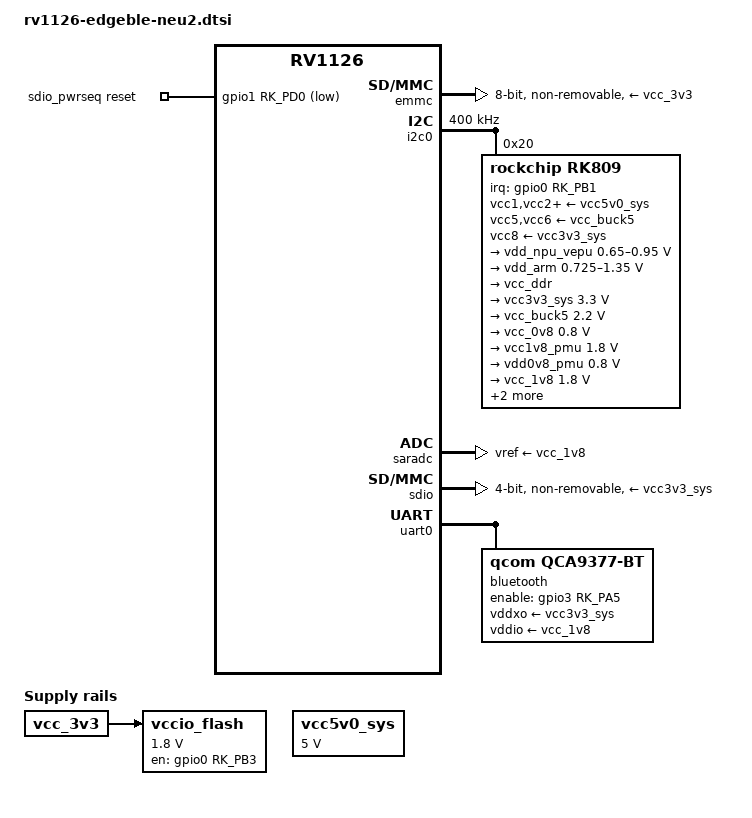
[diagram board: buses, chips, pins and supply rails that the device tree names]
// SPDX-License-Identifier: (GPL-2.0+ OR MIT)
/*
 * Copyright (c) 2020 Rockchip Electronics Co., Ltd.
 * Copyright (c) 2022 Edgeble AI Technologies Pvt. Ltd.
 */

/ {
	compatible = "edgeble,neural-compute-module-2", "rockchip,rv1126";

	aliases {
		mmc0 = &emmc;
	};

	vcc5v0_sys: vcc5v0-sys-regulator {
		compatible = "regulator-fixed";
		regulator-name = "vcc5v0_sys";
		regulator-always-on;
		regulator-boot-on;
		regulator-min-microvolt = <5000000>;
		regulator-max-microvolt = <5000000>;
	};

	vccio_flash: vccio-flash-regulator {
		compatible = "regulator-fixed";
		enable-active-high;
		gpio = <&gpio0 RK_PB3 GPIO_ACTIVE_HIGH>;
		pinctrl-names = "default";
		pinctrl-0 = <&flash_vol_sel>;
		regulator-name = "vccio_flash";
		regulator-always-on;
		regulator-boot-on;
		regulator-min-microvolt = <1800000>;
		regulator-max-microvolt = <1800000>;
		vin-supply = <&vcc_3v3>;
	};

	sdio_pwrseq: pwrseq-sdio {
		compatible = "mmc-pwrseq-simple";
		clocks = <&rk809 1>;
		clock-names = "ext_clock";
		pinctrl-names = "default";
		pinctrl-0 = <&wifi_enable_h>;
		reset-gpios = <&gpio1 RK_PD0 GPIO_ACTIVE_LOW>;
	};
};

&cpu0 {
	cpu-supply = <&vdd_arm>;
};

&emmc {
	bus-width = <8>;
	non-removable;
	pinctrl-names = "default";
	pinctrl-0 = <&emmc_bus8 &emmc_cmd &emmc_clk &emmc_rstnout>;
	rockchip,default-sample-phase = <90>;
	vmmc-supply = <&vcc_3v3>;
	vqmmc-supply = <&vccio_flash>;
	status = "okay";
};

&i2c0 {
	clock-frequency = <400000>;
	status = "okay";

	rk809: pmic@20 {
		compatible = "rockchip,rk809";
		reg = <0x20>;
		interrupt-parent = <&gpio0>;
		interrupts = <RK_PB1 IRQ_TYPE_LEVEL_LOW>;
		#clock-cells = <1>;
		clock-output-names = "rk808-clkout1", "rk808-clkout2";
		pinctrl-names = "default";
		pinctrl-0 = <&pmic_int_l>;
		rockchip,system-power-controller;
		wakeup-source;

		vcc1-supply = <&vcc5v0_sys>;
		vcc2-supply = <&vcc5v0_sys>;
		vcc3-supply = <&vcc5v0_sys>;
		vcc4-supply = <&vcc5v0_sys>;
		vcc5-supply = <&vcc_buck5>;
		vcc6-supply = <&vcc_buck5>;
		vcc7-supply = <&vcc5v0_sys>;
		vcc8-supply = <&vcc3v3_sys>;
		vcc9-supply = <&vcc5v0_sys>;

		regulators {
			vdd_npu_vepu: DCDC_REG1 {
				regulator-name = "vdd_npu_vepu";
				regulator-always-on;
				regulator-boot-on;
				regulator-initial-mode = <0x2>;
				regulator-min-microvolt = <650000>;
				regulator-max-microvolt = <950000>;
				regulator-ramp-delay = <6001>;
				regulator-state-mem {
					regulator-off-in-suspend;
				};
			};

			vdd_arm: DCDC_REG2 {
				regulator-name = "vdd_arm";
				regulator-always-on;
				regulator-boot-on;
				regulator-initial-mode = <0x2>;
				regulator-min-microvolt = <725000>;
				regulator-max-microvolt = <1350000>;
				regulator-ramp-delay = <6001>;
				regulator-state-mem {
					regulator-off-in-suspend;
				};
			};

			vcc_ddr: DCDC_REG3 {
				regulator-name = "vcc_ddr";
				regulator-always-on;
				regulator-boot-on;
				regulator-initial-mode = <0x2>;
				regulator-state-mem {
					regulator-on-in-suspend;
				};
			};

			vcc3v3_sys: DCDC_REG4 {
				regulator-name = "vcc3v3_sys";
				regulator-always-on;
				regulator-boot-on;
				regulator-initial-mode = <0x2>;
				regulator-min-microvolt = <3300000>;
				regulator-max-microvolt = <3300000>;
				regulator-state-mem {
					regulator-on-in-suspend;
					regulator-suspend-microvolt = <3300000>;
				};
			};

			vcc_buck5: DCDC_REG5 {
				regulator-name = "vcc_buck5";
				regulator-always-on;
				regulator-boot-on;
				regulator-min-microvolt = <2200000>;
				regulator-max-microvolt = <2200000>;
				regulator-state-mem {
					regulator-on-in-suspend;
					regulator-suspend-microvolt = <2200000>;
				};
			};

			vcc_0v8: LDO_REG1 {
				regulator-name = "vcc_0v8";
				regulator-always-on;
				regulator-boot-on;
				regulator-min-microvolt = <800000>;
				regulator-max-microvolt = <800000>;
				regulator-state-mem {
					regulator-off-in-suspend;
				};
			};

			vcc1v8_pmu: LDO_REG2 {
				regulator-name = "vcc1v8_pmu";
				regulator-always-on;
				regulator-boot-on;
				regulator-min-microvolt = <1800000>;
				regulator-max-microvolt = <1800000>;
				regulator-state-mem {
					regulator-on-in-suspend;
					regulator-suspend-microvolt = <1800000>;
				};
			};

			vdd0v8_pmu: LDO_REG3 {
				regulator-name = "vcc0v8_pmu";
				regulator-always-on;
				regulator-boot-on;
				regulator-min-microvolt = <800000>;
				regulator-max-microvolt = <800000>;
				regulator-state-mem {
					regulator-on-in-suspend;
					regulator-suspend-microvolt = <800000>;
				};
			};

			vcc_1v8: LDO_REG4 {
				regulator-name = "vcc_1v8";
				regulator-always-on;
				regulator-boot-on;
				regulator-min-microvolt = <1800000>;
				regulator-max-microvolt = <1800000>;
				regulator-state-mem {
					regulator-on-in-suspend;
					regulator-suspend-microvolt = <1800000>;
				};
			};

			vcc_dovdd: LDO_REG5 {
				regulator-name = "vcc_dovdd";
				regulator-boot-on;
				regulator-min-microvolt = <1800000>;
				regulator-max-microvolt = <1800000>;
				regulator-state-mem {
					regulator-off-in-suspend;
				};
			};

			vcc_dvdd: LDO_REG6 {
				regulator-name = "vcc_dvdd";
				regulator-min-microvolt = <1200000>;
				regulator-max-microvolt = <1200000>;
				regulator-state-mem {
					regulator-off-in-suspend;
				};
			};

			vcc_avdd: LDO_REG7 {
				regulator-name = "vcc_avdd";
				regulator-min-microvolt = <2800000>;
				regulator-max-microvolt = <2800000>;
				regulator-state-mem {
					regulator-off-in-suspend;
				};
			};

			vccio_sd: LDO_REG8 {
				regulator-name = "vccio_sd";
				regulator-always-on;
				regulator-boot-on;
				regulator-min-microvolt = <1800000>;
				regulator-max-microvolt = <3300000>;
				regulator-state-mem {
					regulator-off-in-suspend;
				};
			};

			vcc3v3_sd: LDO_REG9 {
				regulator-name = "vcc3v3_sd";
				regulator-always-on;
				regulator-boot-on;
				regulator-min-microvolt = <3300000>;
				regulator-max-microvolt = <3300000>;
				regulator-state-mem {
					regulator-off-in-suspend;
				};
			};

			vcc_5v0: SWITCH_REG1 {
				regulator-name = "vcc_5v0";
			};

			vcc_3v3: SWITCH_REG2 {
				regulator-name = "vcc_3v3";
				regulator-always-on;
				regulator-boot-on;
			};
		};
	};
};

&pinctrl {
	bt {
		bt_enable: bt-enable {
			rockchip,pins = <3 RK_PA5 RK_FUNC_GPIO &pcfg_pull_none>;
		};
	};

	flash {
		flash_vol_sel: flash-vol-sel {
			rockchip,pins = <0 RK_PB3 RK_FUNC_GPIO &pcfg_pull_none>;
		};
	};

	pmic {
		pmic_int_l: pmic-int-l {
			rockchip,pins = <0 RK_PB1 RK_FUNC_GPIO &pcfg_pull_up>;
		};
	};

	wifi {
		wifi_enable_h: wifi-enable-h {
			rockchip,pins = <1 RK_PD0 RK_FUNC_GPIO &pcfg_pull_none>;
		};
	};
};

&pmu_io_domains {
	pmuio0-supply = <&vcc1v8_pmu>;
	pmuio1-supply = <&vcc3v3_sys>;
	vccio1-supply = <&vccio_flash>;
	vccio2-supply = <&vccio_sd>;
	vccio3-supply = <&vcc_1v8>;
	vccio4-supply = <&vcc_dovdd>;
	vccio5-supply = <&vcc_1v8>;
	vccio6-supply = <&vcc_1v8>;
	vccio7-supply = <&vcc_dovdd>;
	status = "okay";
};

&saradc {
	vref-supply = <&vcc_1v8>;
	status = "okay";
};

&sdio {
	bus-width = <4>;
	cap-sd-highspeed;
	cap-sdio-irq;
	keep-power-in-suspend;
	max-frequency = <100000000>;
	mmc-pwrseq = <&sdio_pwrseq>;
	non-removable;
	pinctrl-names = "default";
	pinctrl-0 = <&sdmmc1_clk &sdmmc1_cmd &sdmmc1_bus4>;
	rockchip,default-sample-phase = <90>;
	sd-uhs-sdr104;
	vmmc-supply = <&vcc3v3_sys>;
	vqmmc-supply = <&vcc_1v8>;
	status = "okay";
	#address-cells = <1>;
	#size-cells = <0>;
};

&uart0 {
	pinctrl-names = "default";
	pinctrl-0 = <&uart0_xfer &uart0_ctsn &uart0_rtsn>;
	status = "okay";

	bluetooth {
		compatible = "qcom,qca9377-bt";
		clocks = <&rk809 1>;
		enable-gpios = <&gpio3 RK_PA5 GPIO_ACTIVE_HIGH>; /* BT_RST */
		max-speed = <2000000>;
		pinctrl-names = "default";
		pinctrl-0 = <&bt_enable>;
		vddxo-supply = <&vcc3v3_sys>;
		vddio-supply = <&vcc_1v8>;
	};
};
